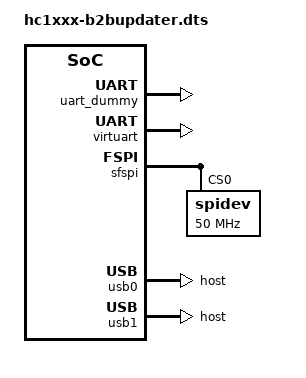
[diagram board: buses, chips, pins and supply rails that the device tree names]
/dts-v1/;

#include <dt-bindings/gpio/gpio.h>
#include <uapi/hcuapi/pinpad.h>

#define CONFIG_MEMORY_SIZE 0x08000000

#if (CONFIG_MEMORY_SIZE == 0x04000000)
#define CONFIG_MEDIAPLAYER_ROTATE_HIGH_QUALITY 0 
#else
//0:MAX SCALE FACTOR:1/2
//1:MAX SCALE FACTOR:1:1(NEED MORE MEMORY)
#define CONFIG_MEDIAPLAYER_ROTATE_HIGH_QUALITY 0
#endif

#define CONFIG_VIDEO_IN_SHARE_WITH_VDEC 1
#define CONFIG_HDMI_RX_SUPPORT 1
#define CONFIG_VIN_DVP_SUPPORT 0
#define CONFIG_VIN_TVDEC_SUPPORT 0
#define CONFIG_VIDEO_IN_SUPPORT (CONFIG_HDMI_RX_SUPPORT | CONFIG_VIN_DVP_SUPPORT | CONFIG_VIN_TVDEC_SUPPORT)
#define CONFIG_DE4K_OUTPUT_SUPPORT 0
#define CONFIG_DUAL_OUTPUT_SUPPORT (!CONFIG_DE4K_OUTPUT_SUPPORT)
#define CONFIG_VGA_OUTPUT_SUPPORT 0
#define CONFIG_CVBS_OUTPUT_SUPPORT 1


#define CONFIG_MM_FB_SIZE (0x10cf200)
#define CONFIG_MM_VBV_SIZE (0x12c000)
#define CONFIG_MM_MF_SIZE (0x198c00)
#define CONFIG_MM_VIN_FB_SIZE (1920*1088*2*4) /*HDMI RX:OSD:1920*1088*2*2*3 DE:1920*1088*2*3*/
#define CONFIG_MM_VC_FB_SIZE (736*576*2*2)

#define MAX_EXTRA_FB_NUM (3)
#define MAX_REF_FB_NUM (7)		//if usb wired cast:MIN NUM:5
#define MAX_TOTAL_FB_NUM (MAX_REF_FB_NUM + MAX_EXTRA_FB_NUM)
#define MAX_WIDTH (2160)
#define MAX_HEIGHT (1088)
#define MAX_MB_WIDTH (MAX_WIDTH / 16)
#define MAX_MB_HEIGHT (MAX_HEIGHT / 16)
#define ONE_MV_SIZE (32 * MAX_MB_WIDTH * MAX_MB_HEIGHT)
#define AVC_MV_SIZE (ONE_MV_SIZE * MAX_TOTAL_FB_NUM)
#define AVC_MB_COL_SIZE (0x3000 * MAX_TOTAL_FB_NUM)
#if (CONFIG_MEDIAPLAYER_ROTATE_HIGH_QUALITY == 1)
#define MAX_SCALE_BUF_NUM (14 - MAX_TOTAL_FB_NUM)
#else
#define MAX_SCALE_BUF_NUM (0)
#endif
#define AVC_TOTAL_FB_SIZE (MAX_WIDTH*MAX_HEIGHT*3/2*(MAX_TOTAL_FB_NUM+MAX_SCALE_BUF_NUM))
#define AVC_MEM_SIZE ((AVC_TOTAL_FB_SIZE + AVC_MB_COL_SIZE + AVC_MV_SIZE+ 1023)&0xFFFFFFC00 )

#define CONFIG_AVC_MB_NEI_SIZE (0xf000)
#define CONFIG_AVC_CMD_QUEUE_SIZE (0x10000)
#define CONFIG_AVC_VBV_SIZE (0x80000)
#define CONFIG_AVC_MEM_SIZE AVC_MEM_SIZE
#define CONFIG_AVC_TOTAL_SIZE                                                  \
	(CONFIG_AVC_MB_NEI_SIZE + CONFIG_AVC_CMD_QUEUE_SIZE +                  \
	 CONFIG_AVC_VBV_SIZE + CONFIG_AVC_MEM_SIZE)

#define __HCRTOS_MMZ0_SIZE                                                     \
	(CONFIG_AVC_TOTAL_SIZE +                                               \
	 (CONFIG_DUAL_OUTPUT_SUPPORT * CONFIG_MM_VC_FB_SIZE) +               \
	 ((CONFIG_VIDEO_IN_SUPPORT && (!CONFIG_VIDEO_IN_SHARE_WITH_VDEC)) * CONFIG_MM_VIN_FB_SIZE))

#define HCRTOS_MMZ_BLOCKLOG (12)
#define HCRTOS_MMZ0_SIZE                                                       \
	(__HCRTOS_MMZ0_SIZE +                                                  \
	 (16 * (__HCRTOS_MMZ0_SIZE >> HCRTOS_MMZ_BLOCKLOG)) +                  \
	 (16 << HCRTOS_MMZ_BLOCKLOG))
#define HCRTOS_MMZ0_OFFSET (CONFIG_MEMORY_SIZE - HCRTOS_MMZ0_SIZE)

#define CONFIG_FRAMEBUFFER_STATIC_MEM_SIZE (0)

#define HCRTOS_SYSMEM_SIZE (CONFIG_MEMORY_SIZE - HCRTOS_MMZ0_SIZE - CONFIG_FRAMEBUFFER_STATIC_MEM_SIZE)
#define HCRTOS_SYSMEM_OFFSET (0)

#if (CONFIG_MEMORY_SIZE == 0x04000000)
#define HCRTOS_BOOTMEM_SIZE (0x1400000)
#else
#define HCRTOS_BOOTMEM_SIZE (0x2000000)
#endif
#define HCRTOS_BOOTMEM_OFFSET (((HCRTOS_SYSMEM_SIZE < 0xc000000 ? HCRTOS_SYSMEM_SIZE : 0xc000000) - 0x1000000) & 0xffff0000)

#define CONFIG_FRAMEBUFFER_STATIC_PHYS (HCRTOS_SYSMEM_OFFSET + HCRTOS_SYSMEM_SIZE)

/{
hcrtos {
	#address-cells = <1>;
	#size-cells = <1>;
	memory-mapping {
		#address-cells = <1>;
		#size-cells = <1>;
		bootmem {
			reg = <HCRTOS_BOOTMEM_OFFSET HCRTOS_BOOTMEM_SIZE>;
		};

		sysmem {
			reg = <HCRTOS_SYSMEM_OFFSET HCRTOS_SYSMEM_SIZE>;
		};

		mmz0 {
			id = <0>;
			reg = <HCRTOS_MMZ0_OFFSET HCRTOS_MMZ0_SIZE>;
			blocklog = <HCRTOS_MMZ_BLOCKLOG>;
		};
	};

	board {
		label = "hc1xxx@b2bupdater";
	};

	scpu {
		/*
		 * 0 : 594M
		 * 1 : 450M
		 * 2 : 396M
		 * 3 : 297M
		 * 4 : 198M
		 * 5 : 24M
		 * 7 : SCPU dig pll clk
		 */
		clock = <7>;
		scpu-dig-pll-clk = <800>;
	};

	mcpu {
		/*
		 * 0 : 594M
		 * 1 : 396M
		 * 2 : 297M
		 * 3 : 198M
		 * 4 : 900M
		 * 5 : 1188M
		 * 6 : 24M
		 * 7 : CPU dig pll clk
		 */
		clock = <4>;
		mcpu-dig-pll-clk = <900>;
	};

	uart@0 {
		devpath = "/dev/uart0";
		status = "disabled";
	};

	uart@1 {
		devpath = "/dev/uart1";
		status = "disabled";
	};

	uart@2 {
		devpath = "/dev/uart2";
		status = "disabled";
	};

	uart@3 {
		devpath = "/dev/uart3";
		status = "disabled";
	};

	uart_dummy {
		devpath = "/dev/uart_dummy";
		status = "okay";
	};

	virtuart {
		devpath = "/dev/virtuart";
		status = "okay";
	};

	stdio {
		serial0 = "/hcrtos/uart@1";
	};

	boot-stdio {
		serial0 = "/hcrtos/uart@1";
	};

	gpio-out-def {
		status = "disabled";
		gpio-group = <PINPAD_L00 GPIO_ACTIVE_HIGH>,
			<PINPAD_L11 GPIO_ACTIVE_HIGH>;
	};

	mmc {
		hcrtos-compatible = "hichip,dw-mshc";
		// compatible = "snps,dw-mshc";
		reg = <0x1884C000 0x2000>;
		card-detect-delay = <200>;
		clock-frequency = <198000000>;
		//clocks = <&mmcclk>, <&mmcclk>;
		//clock-names = "biu", "ciu";
		interrupts = <10>;
		
		pinmux-active = <PINPAD_T00 25 PINPAD_T01 25 PINPAD_T02 25 PINPAD_T03 25 PINPAD_T04 25 PINPAD_T05 25>;
		
		status = "disabled";
		
		// bus-width = <8>;
		bus-width = <4>;
		// bus-width = <1>;
		
		broken-cd;
		//cd-gpios = <109 GPIO_ACTIVE_LOW>;
		//non-removable;
		
		cap-sd-highspeed;
		sd-uhs-sdr12;
		sd-uhs-sdr25;
		sd-uhs-ddr50;
		sd-uhs-sdr50;
		sd-uhs-sdr104;
	};
	persistentmem {
		mtdname = "persistentmem";
		size = <4096>;
		status = "okay";
	};

	sfspi {
		sclk = <50000000>;
		dma-mode = <1>;
		status = "okay";

		spi_nor_flash {
			spi-tx-bus-width = <1>;
			spi-rx-bus-width = <1>;
			reg = <0>;
			status = "okay";
			partitions {
				part-num = <4>;

				/* part0 is for entire norflash by default */

				part1-label = "boot";
				part1-reg = <0x0 0x60000>;
				part1-filename = "bootloader.bin";

				part2-label = "eromfs";
				part2-reg = <0x60000 0x20000>;
				part2-filename = "romfs.img";

				part3-label = "firmware";
				part3-reg = <0x80000 0x360000>;
				part3-filename = "hcdemo.uImage";

				part4-label = "persistentmem";
				part4-reg = <0x3e0000 0x20000>;
				part4-filename = "persistentmem.bin";
			};
		};

		spidev@0 {
			devpath = "/dev/spidev0";
			reg = <0>;
			spi-max-frequency = <50000000>;
			status = "okay";
		};
	};

	usb0 {  // usb_host0 / usb_peripheral0
		reg = <0x18844000 0x1000>;
		interrupts = <53>,<52>;
		interrupt-names = "mc","dma";
		dr_mode = "host";  // host/peripheral
		index_num = <0>;
		ctrl_base = <0x18800000>;
		status = "okay";
	};

	usb1 {  // usb_host1/ usb_peripheral1
		reg = <0x18850000 0x1000>;
		interrupts = <51>, <50>;
		interrupt-names = "mc", "dma";
		dr_mode = "host";
		index_num = <1>;
		ctrl_base = <0x18800000>;
		status = "okay";
	};
	
};
};
